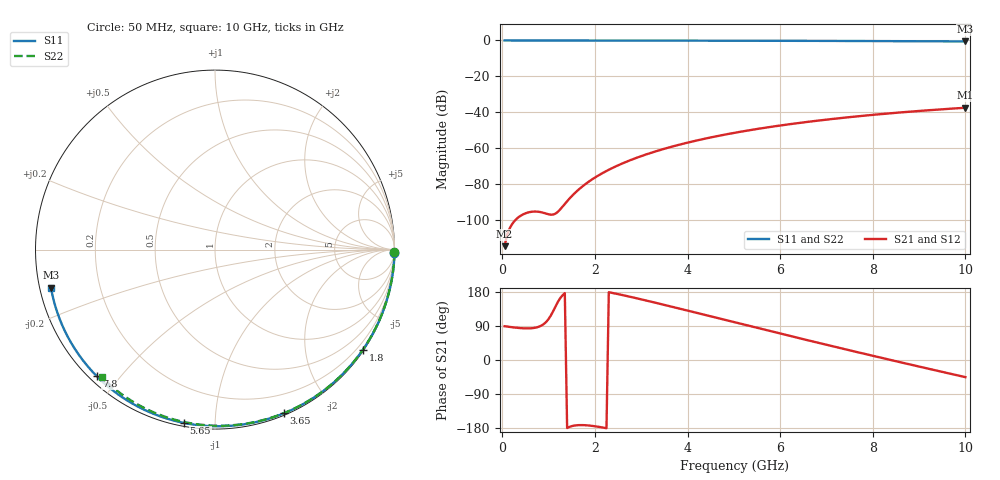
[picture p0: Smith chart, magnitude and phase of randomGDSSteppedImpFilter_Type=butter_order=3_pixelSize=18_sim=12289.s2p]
! freq	dB(S11)	phase(S11)	dB(S12)	phase(S12)
!  dB(S21)	phase(S21)	dB(S22)	phase(S22)
!S-par simulation data
#  GHz  S  DB  R 50
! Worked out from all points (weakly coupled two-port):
!   200 points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, 50 MHz to 10 GHz, reference 50 ohm
!   highest |S21| = -37.40 dB at 10 GHz (marker M1); lowest = -114.3 dB at 50 MHz (marker M2)
!   lowest |S11| = -0.6 dB at 10 GHz (marker M3), VSWR 31.38, Z = 1.61 - j5.73 ohm
!   |S11| at or under -10 dB: nowhere
!   |S22| runs from -0.4 to 0.0 dB; largest |S21 - S12| = 0
!   S11 on the Smith chart (normalised r, x): 50 MHz: open; 1.8 GHz: 0.03, -3.26; 3.65 GHz: 0.02, -1.50; 5.65 GHz: 0.02, -0.84; 7.8 GHz: 0.02, -0.43; 10 GHz: 0.03, -0.11
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0.05  -0.00 -1.0  -114.33 89.1  -114.33 89.1  -0.00 -0.8
0.45  -0.01 -8.7  -96.64 83.7  -96.64 83.7  -0.01 -6.8
0.85  -0.02 -16.3  -95.52 91.2  -95.52 91.2  -0.02 -12.9
1.3  -0.03 -24.8  -92.39 170.7  -92.39 170.7  -0.02 -19.6
1.75  -0.04 -33.2  -80.71 -171.8  -80.71 -171.8  -0.03 -26.2
1.8  -0.04 -34.1  -79.72 -172.2  -79.72 -172.2  -0.03 -27.0
2.1  -0.05 -39.7  -74.65 -176.7  -74.65 -176.7  -0.04 -31.4
2.3  -0.06 -43.3  -71.86 178.9  -71.86 178.9  -0.04 -34.3
2.5  -0.06 -46.9  -69.40 173.9  -69.40 173.9  -0.05 -37.2
2.9  -0.07 -54.1  -65.21 162.9  -65.21 162.9  -0.06 -42.9
3.4  -0.08 -62.9  -60.94 148.4  -60.94 148.4  -0.07 -50.0
3.65  -0.09 -67.2  -59.11 140.9  -59.11 140.9  -0.07 -53.4
4.35  -0.11 -79.1  -54.72 119.8  -54.72 119.8  -0.09 -63.0
5.05  -0.14 -90.6  -51.16 98.5  -51.16 98.5  -0.11 -72.3
5.65  -0.17 -100.1  -48.60 80.4  -48.60 80.4  -0.13 -80.0
6.15  -0.19 -108.0  -46.73 65.4  -46.73 65.4  -0.15 -86.4
6.7  -0.23 -116.4  -44.91 49.0  -44.91 49.0  -0.18 -93.2
7.25  -0.27 -124.8  -43.28 32.9  -43.28 32.9  -0.21 -99.8
7.8  -0.31 -133.1  -41.84 16.9  -41.84 16.9  -0.25 -106.4
8.35  -0.36 -141.4  -40.54 1.1  -40.54 1.1  -0.29 -112.8
9.2  -0.45 -154.4  -38.79 -23.0  -38.79 -23.0  -0.36 -122.5
10  -0.55 -166.9  -37.40 -45.2  -37.40 -45.2  -0.44 -131.6
